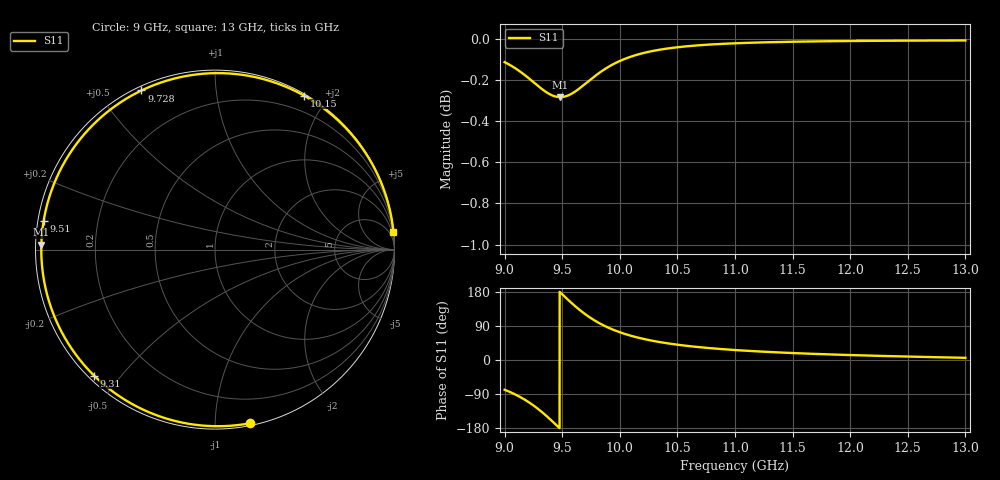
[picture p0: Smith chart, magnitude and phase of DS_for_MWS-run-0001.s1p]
! TOUCHSTONE file generated by CST DESIGN STUDIO
! Date and time: Tue Feb  4 17:30:50 2025
! Project name: C:\Work\MatlabApps\UnitCellOptimizationMatlab\CST\unitcell.cst
! Tree item: Tasks\Sweep1\SPara1\S-Parameters
! Header version: 2024
! Port assignment regex: !\s*Touchstone port\s*([0-9]+)\s*=\s*(CST MWS port|CST DES external port|CST DES block port)\s*(.+)\s* \(\"(.*)\"\)(\s*mode\s*([0-9]+))?.*
! Touchstone port assignment:
! Touchstone port 1 = CST DES external port 1 ("")
# GHz S MA R 50
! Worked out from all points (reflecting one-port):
!   4001 points, 9 GHz to 13 GHz, reference 50 ohm
!   lowest |S11| = -0.3 dB at 9.483 GHz (marker M1), VSWR 61.27, Z = 0.816 + j0.715 ohm
!   phase of S11 starts at -79 deg and turns -276 deg over the sweep
!   S11 on the Smith chart (normalised r, x): 9 GHz: 0.02, -1.22; 9.31 GHz: 0.02, -0.43; 9.51 GHz: 0.02, +0.08; 9.728 GHz: 0.02, +0.64; 10.15 GHz: 0.02, +1.73; 13 GHz: 0, +20
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9  0.987 -78.5
9.078  0.9842 -88.8
9.176  0.9799 -104.9
9.245  0.9763 -118.8
9.31  0.973 -133.9
9.356  0.9708 -145.7
9.404  0.9691 -158.9
9.444  0.9682 -170.3
9.483  0.9679 178.4
9.5  0.9679 173.4
9.51  0.968 170.5
9.563  0.9691 155.4
9.623  0.9714 139.3
9.675  0.9739 126.5
9.728  0.9766 114.8
9.783  0.9793 104.0
9.844  0.9821 93.6
9.921  0.9851 82.6
10  0.9877 73.2
10.146  0.9911 59.9
10.306  0.9935 49.5
10.5  0.9953 40.4
10.722  0.9966 32.9
11  0.9975 26.3
11.5  0.9984 18.3
12  0.9988 13.0
12.5  0.999 9.0
13  0.9991 5.8
